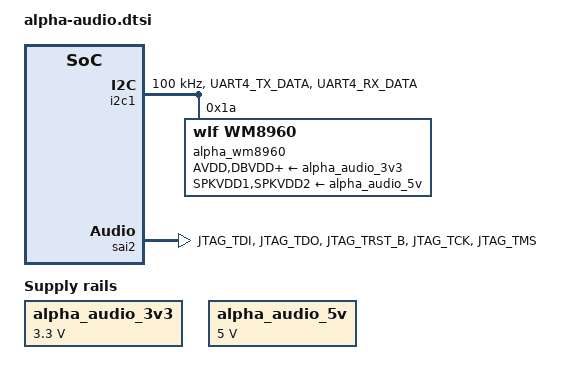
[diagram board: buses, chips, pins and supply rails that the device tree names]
// SPDX-License-Identifier: GPL-2.0
/* Include at the end of the ALPHA board DTS, after imx6ull.dtsi. */
/ {
	alpha_audio_3v3: regulator-audio-3v3 {
		compatible = "regulator-fixed";
		regulator-name = "audio-3v3";
		regulator-min-microvolt = <3300000>;
		regulator-max-microvolt = <3300000>;
		regulator-always-on;
	};
	alpha_audio_5v: regulator-audio-5v {
		compatible = "regulator-fixed";
		regulator-name = "audio-5v";
		regulator-min-microvolt = <5000000>;
		regulator-max-microvolt = <5000000>;
		regulator-always-on;
	};
	sound-alpha {
		compatible = "alientek,alpha-wm8960";
		model = "alpha-wm8960";
		audio-cpu = <&sai2>;
		audio-codec = <&alpha_wm8960>;
		audio-routing =
			"Headphone", "HP_L", "Headphone", "HP_R",
			"Speaker", "SPK_LP", "Speaker", "SPK_LN",
			"Speaker", "SPK_RP", "Speaker", "SPK_RN",
			"Onboard Mic", "MICB",
			"LINPUT1", "Onboard Mic", "LINPUT2", "Onboard Mic",
			"RINPUT2", "Line In", "LINPUT3", "Line In";
	};
};

&i2c1 {
	clock-frequency = <100000>;
	pinctrl-names = "default";
	pinctrl-0 = <&pinctrl_alpha_i2c1>;
	status = "okay";
	alpha_wm8960: codec@1a {
		compatible = "wlf,wm8960";
		reg = <0x1a>;
		#sound-dai-cells = <0>;
		clocks = <&clks IMX6UL_CLK_SAI2>;
		clock-names = "mclk";
		/* ADCLRC is AUD_INT, not a second LRCLK: use DACLRC for both. */
		wlf,shared-lrclk;
		wlf,gpio-cfg = <1 0>;
		AVDD-supply = <&alpha_audio_3v3>;
		DBVDD-supply = <&alpha_audio_3v3>;
		DCVDD-supply = <&alpha_audio_3v3>;
		SPKVDD1-supply = <&alpha_audio_5v>;
		SPKVDD2-supply = <&alpha_audio_5v>;
	};
};

&sai2 {
	pinctrl-names = "default";
	pinctrl-0 = <&pinctrl_alpha_sai2>;
	/*
	 * Initialize the PLL before deriving MCLK. A bootloader-inherited PLL4
	 * rate can be below the AV PLL's valid 27..54 x 24 MHz range; merely
	 * requesting 12.288 MHz at SAI2 can preserve that invalid PLL state.
	 * Use the i.MX6UL EVK audio root rate, then divide by 64 for MCLK.
	 */
	assigned-clocks = <&clks IMX6UL_CLK_PLL4_AUDIO_DIV>,
			  <&clks IMX6UL_CLK_SAI2_SEL>, <&clks IMX6UL_CLK_SAI2>;
	assigned-clock-parents = <0>, <&clks IMX6UL_CLK_PLL4_AUDIO_DIV>;
	assigned-clock-rates = <786432000>, <0>, <12288000>;
	fsl,sai-mclk-direction-output;
	status = "okay";
};

&iomuxc {
	pinctrl_alpha_i2c1: alpha-i2c1-grp {
		fsl,pins = <
			MX6UL_PAD_UART4_TX_DATA__I2C1_SCL 0x4001b8b0
			MX6UL_PAD_UART4_RX_DATA__I2C1_SDA 0x4001b8b0
		>;
	};
	pinctrl_alpha_sai2: alpha-sai2-grp {
		fsl,pins = <
			MX6UL_PAD_JTAG_TDI__SAI2_TX_BCLK 0x17088
			MX6UL_PAD_JTAG_TDO__SAI2_TX_SYNC 0x17088
			MX6UL_PAD_JTAG_TRST_B__SAI2_TX_DATA 0x11088
			MX6UL_PAD_JTAG_TCK__SAI2_RX_DATA 0x11088
			MX6UL_PAD_JTAG_TMS__SAI2_MCLK 0x17088
		>;
	};
};
